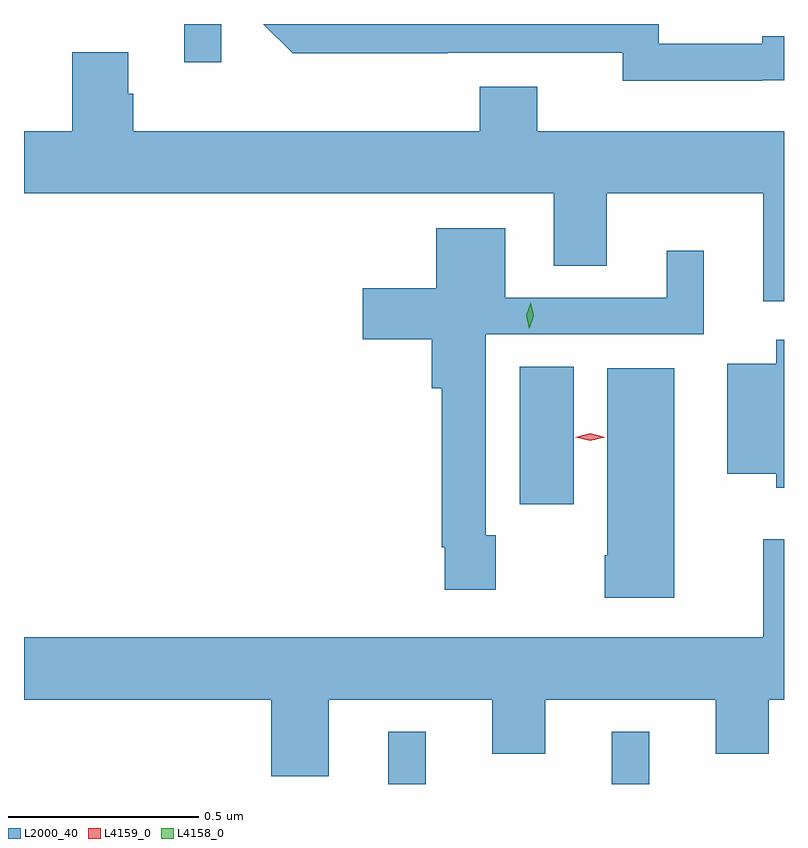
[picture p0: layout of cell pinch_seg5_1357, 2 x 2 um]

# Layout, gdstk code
import gdstk
lib = gdstk.Library(unit=1e-6, precision=1e-09)
def R(c, l, rs):  # rectangles x0, y0, x1, y1
    for r in rs: c.add(gdstk.rectangle(r[:2], r[2:], *l))
def P(c, l, *ps):  # polygons
    for p in ps: c.add(gdstk.Polygon(p, *l))
L2000_40 = (2000, 40)
L4158_0 = (4158, 0)
L4159_0 = (4159, 0)

pinch_seg5_1357 = lib.new_cell('pinch_seg5_1357')
R(pinch_seg5_1357, L2000_40, [(351.044,893.834,351.142,893.971), (351.632,893.834,351.73,893.971), (351.389,894.57,351.532,894.932), (350.507,895.734,350.604,895.834)])
P(pinch_seg5_1357, L2000_40, [(352.028,895.686),(352.085,895.686),(352.085,895.802),(352.028,895.802),(352.028,895.782),(351.756,895.782),(351.756,895.834),(350.714,895.834),(350.792,895.757),(351.2,895.757),(351.2,895.758),(351.66,895.758),(351.66,895.685),(352.028,895.685)],
  [(352.085,895.552),(351.436,895.552),(351.436,895.669),(351.284,895.669),(351.284,895.552),(350.372,895.552),(350.372,895.65),(350.359,895.65),(350.359,895.76),(350.212,895.76),(350.212,895.552),(350.085,895.552),(350.085,895.388),(351.479,895.388),(351.479,895.198),(351.619,895.198),(351.619,895.388),(352.031,895.388),(352.031,895.104),(352.085,895.104)],
  [(351.327,894.489),(351.3,894.489),(351.3,895.017),(351.874,895.017),(351.874,895.237),(351.776,895.237),(351.776,895.113),(351.352,895.113),(351.352,895.297),(351.17,895.297),(351.17,895.138),(350.976,895.138),(350.976,895.004),(351.158,895.004),(351.158,894.875),(351.184,894.875),(351.184,894.457),(351.192,894.457),(351.192,894.345),(351.327,894.345)],
  [(352.085,895.003),(352.064,895.003),(352.064,894.94),(351.935,894.94),(351.935,894.65),(352.064,894.65),(352.064,894.614),(352.085,894.614)],
  [(351.796,894.928),(351.62,894.928),(351.62,894.436),(351.613,894.436),(351.613,894.324),(351.796,894.324)],
  [(350.887,894.056),(351.317,894.056),(351.317,893.914),(351.457,893.914),(351.457,894.056),(351.905,894.056),(351.905,893.914),(352.045,893.914),(352.045,894.056),(352.085,894.056),(352.085,894.478),(352.031,894.478),(352.031,894.22),(350.085,894.22),(350.085,894.056),(350.735,894.056),(350.735,893.854),(350.887,893.854)])
P(pinch_seg5_1357, L4158_0, [(351.415,895.032),(351.415,895.032),(351.407,895.067),(351.418,895.101),(351.418,895.102),(351.418,895.101),(351.427,895.066),(351.415,895.032)])
P(pinch_seg5_1357, L4159_0, [(351.575,894.737),(351.535,894.746),(351.535,894.747),(351.535,894.747),(351.575,894.757),(351.615,894.747),(351.615,894.747),(351.615,894.746)])

lib.write_gds('pinch_seg5_1357.gds')
